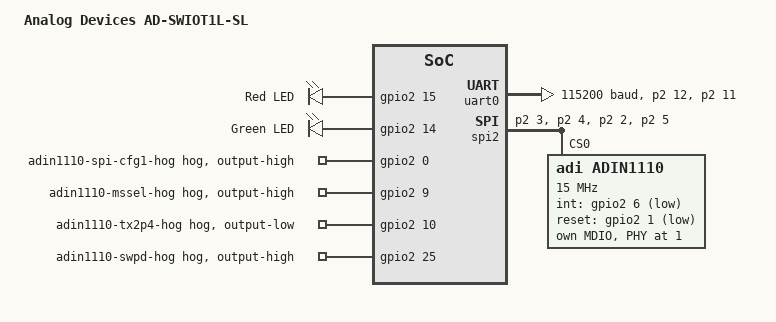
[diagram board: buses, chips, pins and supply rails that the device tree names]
/*
 * Copyright (c) 2025-2026 Analog Devices, Inc.
 *
 * SPDX-License-Identifier: Apache-2.0
 */

/dts-v1/;

#include <adi/max32/max32650.dtsi>
#include <adi/max32/max32650-pinctrl.dtsi>
#include <zephyr/dt-bindings/gpio/adi-max32-gpio.h>
#include <zephyr/dt-bindings/input/input-event-codes.h>

/ {
	compatible = "adi,ad_swiot1l_sl";
	model = "Analog Devices AD-SWIOT1L-SL";

	chosen {
		zephyr,console = &uart0;
		zephyr,shell-uart = &uart0;
		zephyr,sram = &sram4;
		zephyr,flash = &flash0;
	};

	leds {
		compatible = "gpio-leds";

		led1: led_1 {
			gpios = <&gpio2 15 GPIO_ACTIVE_HIGH>;
			label = "Red LED";
		};

		led2: led_2 {
			gpios = <&gpio2 14 GPIO_ACTIVE_HIGH>;
			label = "Green LED";
		};
	};

	/* These aliases are provided for compatibility with samples */
	aliases {
		led0 = &led1;
		led1 = &led2;
	};
};

&uart0 {
	pinctrl-0 = <&uart0_tx_p2_12 &uart0_rx_p2_11>;
	pinctrl-names = "default";
	current-speed = <115200>;
	data-bits = <8>;
	parity = "none";
	status = "okay";
};

&clk_ipo {
	status = "okay";
};

&gpio0 {
	status = "okay";
};

&gpio1 {
	status = "okay";
};

&gpio2 {
	status = "okay";

	/*
	 * ADIN1110 configuration straps, latched when the driver releases
	 * reset-gpios. With SPI_CFG1 high the ADIN1110 comes up in Generic SPI
	 * mode with CRC, which is what the driver expects by default. SPI_CFG0
	 * is P2.3, shared with the SPI2 MISO line.
	 */
	adin1110-spi-cfg1-hog {
		gpio-hog;
		gpios = <0 (GPIO_ACTIVE_HIGH | MAX32_GPIO_VSEL_VDDIOH)>;
		output-high;
	};

	adin1110-mssel-hog {
		gpio-hog;
		gpios = <9 (GPIO_ACTIVE_HIGH | MAX32_GPIO_VSEL_VDDIOH)>;
		output-high;
	};

	adin1110-tx2p4-hog {
		gpio-hog;
		gpios = <10 (GPIO_ACTIVE_HIGH | MAX32_GPIO_VSEL_VDDIOH)>;
		output-low;
	};

	adin1110-swpd-hog {
		gpio-hog;
		gpios = <25 (GPIO_ACTIVE_HIGH | MAX32_GPIO_VSEL_VDDIOH)>;
		output-high;
	};
};

&gpio3 {
	status = "okay";
};

/* SPI2 and the ADIN1110 control pins are supplied from VDDIOH */
&spi2_sck_p2_2 {
	power-source = <MAX32_VSEL_VDDIOH>;
};

&spi2_miso_p2_3 {
	power-source = <MAX32_VSEL_VDDIOH>;
};

&spi2_mosi_p2_4 {
	power-source = <MAX32_VSEL_VDDIOH>;
};

&spi2_ss0_p2_5 {
	power-source = <MAX32_VSEL_VDDIOH>;
};

&spi2 {
	pinctrl-0 = <&spi2_miso_p2_3 &spi2_mosi_p2_4 &spi2_sck_p2_2 &spi2_ss0_p2_5>;
	pinctrl-names = "default";
	status = "okay";

	adin1110: adin1110@0 {
		compatible = "adi,adin1110";
		reg = <0x0>;
		spi-max-frequency = <DT_FREQ_M(15)>;
		int-gpios = <&gpio2 6 (GPIO_ACTIVE_LOW | GPIO_PULL_UP | MAX32_GPIO_VSEL_VDDIOH)>;
		reset-gpios = <&gpio2 1 (GPIO_ACTIVE_LOW | MAX32_GPIO_VSEL_VDDIOH)>;
		status = "okay";

		port1 {
			local-mac-address = [00 18 80 03 25 60];
		};

		mdio {
			compatible = "adi,adin2111-mdio";
			#address-cells = <1>;
			#size-cells = <0>;

			ethernet-phy@1 {
				reg = <0x1>;
				compatible = "adi,adin2111-phy";
			};
		};
	};
};
